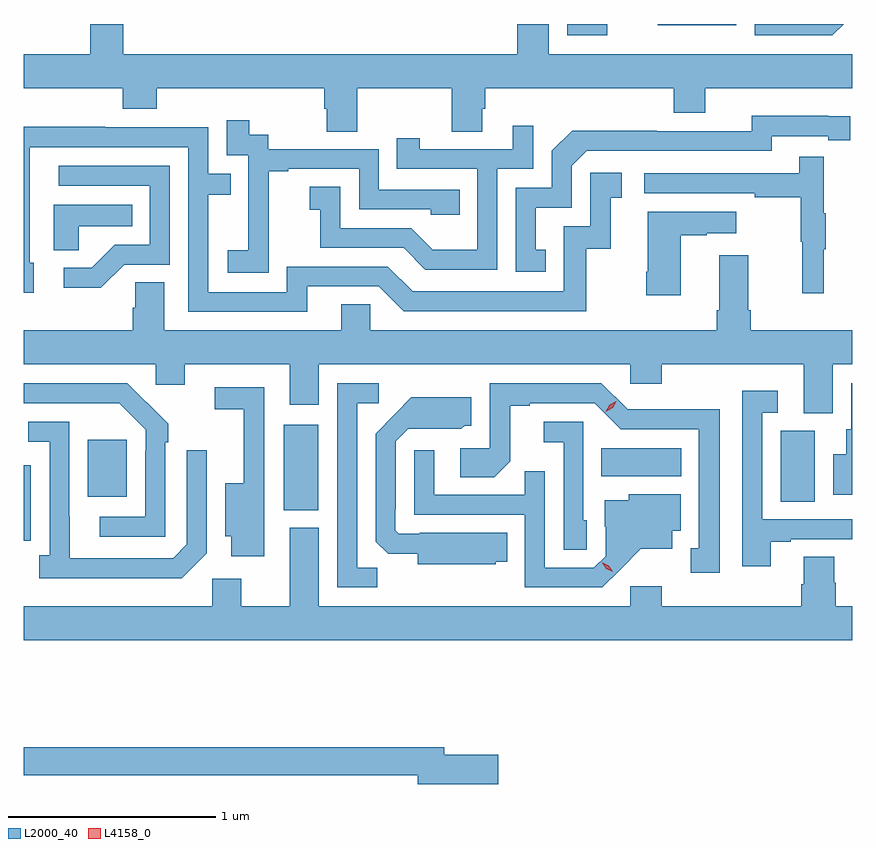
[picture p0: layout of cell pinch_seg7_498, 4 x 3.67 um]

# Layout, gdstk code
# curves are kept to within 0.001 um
import gdstk
lib = gdstk.Library(unit=1e-6, precision=1e-09)
def R(c, l, rs):  # rectangles x0, y0, x1, y1
    for r in rs: c.add(gdstk.rectangle(r[:2], r[2:], *l))
def P(c, l, *ps):  # polygons
    for p in ps: c.add(gdstk.Polygon(p, *l))
L2000_40 = (2000, 40)
L4158_0 = (4158, 0)

pinch_seg7_498 = lib.new_cell('pinch_seg7_498')
R(pinch_seg7_498, L2000_40, [(125.402,1071.839,125.569,1072.252), (127.802,1071.88,127.966,1072.224), (124.457,1071.905,124.645,1072.18), (126.934,1072.004,127.321,1072.138), (126.771,1074.132,126.963,1074.187), (127.208,1074.182,127.588,1074.187)])
P(pinch_seg7_498, L2000_40, [(125.757,1073.876),(126.214,1073.876),(126.214,1073.668),(126.361,1073.668),(126.361,1073.778),(126.374,1073.778),(126.374,1073.876),(127.286,1073.876),(127.286,1073.759),(127.438,1073.759),(127.438,1073.876),(128.147,1073.876),(128.147,1074.04),(126.682,1074.04),(126.682,1074.187),(126.53,1074.187),(126.53,1074.04),(124.628,1074.04),(124.628,1074.187),(124.468,1074.187),(124.468,1074.04),(124.147,1074.04),(124.147,1073.876),(124.625,1073.876),(124.625,1073.777),(124.79,1073.777),(124.79,1073.876),(125.597,1073.876),(125.597,1073.778),(125.609,1073.778),(125.609,1073.668),(125.757,1073.668)],
  [(128.106,1074.187),(127.677,1074.187),(127.677,1074.132),(128.05,1074.132)],
  [(126.668,1073.097),(126.619,1073.097),(126.619,1073.301),(126.792,1073.301),(126.792,1073.502),(126.864,1073.574),(127.758,1073.574),(127.758,1073.646),(128.03,1073.646),(128.03,1073.626),(128.138,1073.626),(128.138,1073.742),(127.662,1073.743),(127.662,1073.67),(127.202,1073.67),(127.202,1073.672),(126.794,1073.672),(126.696,1073.574),(126.696,1073.397),(126.522,1073.397),(126.522,1072.992),(126.668,1072.992)],
  [(125.331,1073.191),(125.33,1073.191),(125.33,1073.475),(125.425,1073.475),(125.425,1073.487),(125.766,1073.487),(125.766,1073.292),(126.111,1073.292),(126.111,1073.265),(126.251,1073.265),(126.251,1073.388),(125.862,1073.388),(125.862,1073.583),(125.328,1073.583),(125.328,1073.652),(125.236,1073.652),(125.236,1073.722),(125.127,1073.722),(125.127,1073.553),(125.232,1073.553),(125.232,1073.324),(125.231,1073.324),(125.231,1073.095),(125.133,1073.095),(125.133,1072.985),(125.331,1072.985)],
  [(126.432,1073.487),(126.606,1073.487),(126.606,1073.695),(126.509,1073.695),(126.509,1073.583),(126.058,1073.583),(126.058,1073.635),(125.947,1073.635),(125.947,1073.487),(126.336,1073.487),(126.336,1073.098),(126.122,1073.098),(126.018,1073.202),(125.676,1073.202),(125.676,1073.401),(125.529,1073.401),(125.529,1073.291),(125.578,1073.291),(125.578,1073.106),(125.981,1073.106),(126.086,1073.001),(126.432,1073.001)],
  [(125.515,1072.92),(125.862,1072.92),(125.982,1072.8),(126.862,1072.8),(126.862,1073.103),(126.98,1073.103),(126.98,1073.349),(127.033,1073.349),(127.033,1073.47),(126.882,1073.47),(126.882,1073.211),(126.753,1073.211),(126.753,1072.896),(126.024,1072.896),(125.904,1073.016),(125.418,1073.016),(125.418,1072.893),(125.037,1072.893),(125.037,1073.362),(125.147,1073.362),(125.147,1073.463),(125.037,1073.463),(125.037,1073.688),(124.541,1073.688),(124.541,1073.69),(124.147,1073.69),(124.147,1072.89),(124.195,1072.89),(124.195,1073.034),(124.176,1073.034),(124.176,1073.592),(124.941,1073.592),(124.941,1072.797),(125.515,1072.797)],
  [(128.009,1073.099),(128.02,1073.099),(128.02,1073.273),(128.009,1073.273),(128.009,1073.545),(127.891,1073.545),(127.891,1073.466),(127.143,1073.466),(127.143,1073.37),(127.675,1073.37),(127.675,1073.35),(127.899,1073.35),(127.899,1073.136),(127.906,1073.136),(127.906,1072.887),(128.009,1072.887)],
  [(124.632,1073.025),(124.851,1073.025),(124.851,1073.502),(124.317,1073.502),(124.317,1073.406),(124.755,1073.406),(124.755,1073.121),(124.586,1073.121),(124.475,1073.01),(124.341,1073.01),(124.341,1072.913),(124.519,1072.913)],
  [(124.413,1073.21),(124.67,1073.21),(124.67,1073.314),(124.292,1073.314),(124.292,1073.095),(124.413,1073.095)],
  [(127.318,1073.167),(127.445,1073.167),(127.445,1073.177),(127.588,1073.177),(127.588,1073.281),(127.16,1073.281),(127.16,1072.99),(127.153,1072.99),(127.153,1072.878),(127.318,1072.878)],
  [(128.053,1072.544),(128.147,1072.544),(128.147,1072.708),(127.658,1072.708),(127.658,1072.804),(127.645,1072.804),(127.645,1073.071),(127.505,1073.071),(127.505,1072.804),(127.493,1072.804),(127.493,1072.708),(125.82,1072.708),(125.82,1072.835),(125.681,1072.835),(125.681,1072.708),(124.825,1072.708),(124.825,1072.94),(124.686,1072.94),(124.686,1072.817),(124.673,1072.817),(124.673,1072.708),(124.147,1072.708),(124.147,1072.544),(124.785,1072.544),(124.785,1072.446),(124.924,1072.446),(124.924,1072.544),(125.432,1072.544),(125.432,1072.35),(125.572,1072.35),(125.572,1072.544),(127.074,1072.544),(127.074,1072.451),(127.226,1072.451),(127.226,1072.544),(127.913,1072.544),(127.913,1072.309),(128.053,1072.309)],
  [(128.147,1072.452),(128.142,1072.452),(128.142,1072.23),(128.117,1072.23),(128.117,1072.111),(128.054,1072.111),(128.054,1071.915),(128.147,1071.915)],
  [(127.507,1072.328),(127.284,1072.328),(127.284,1072.326),(127.062,1072.326),(126.936,1072.452),(126.396,1072.452),(126.396,1072.14),(126.255,1072.14),(126.255,1072),(126.419,1072),(126.495,1072.076),(126.495,1072.344),(126.589,1072.344),(126.589,1072.356),(126.903,1072.356),(127.029,1072.23),(127.406,1072.23),(127.406,1071.657),(127.367,1071.657),(127.367,1071.537),(127.507,1071.537)],
  [(125.853,1071.563),(125.757,1071.563),(125.757,1072.356),(125.86,1072.356),(125.86,1072.452),(125.661,1072.452),(125.661,1071.468),(125.853,1071.468)],
  [(124.83,1072.169),(124.845,1072.169),(124.845,1072.257),(124.648,1072.452),(124.147,1072.452),(124.147,1072.356),(124.609,1072.356),(124.737,1072.227),(124.737,1072.127),(124.734,1072.127),(124.734,1071.807),(124.515,1071.807),(124.515,1071.711),(124.83,1071.711)],
  [(125.308,1071.849),(125.307,1071.849),(125.307,1072.434),(125.07,1072.434),(125.07,1072.326),(125.21,1072.326),(125.21,1071.97),(125.12,1071.97),(125.12,1071.713),(125.15,1071.713),(125.15,1071.618),(125.308,1071.618)],
  [(127.753,1071.687),(127.849,1071.687),(127.849,1071.699),(128.147,1071.699),(128.147,1071.795),(127.713,1071.795),(127.713,1072.311),(127.786,1072.311),(127.786,1072.417),(127.617,1072.417),(127.617,1071.57),(127.753,1071.57)],
  [(126.426,1071.59),(126.482,1071.59),(126.482,1071.73),(126.058,1071.73),(126.058,1071.726),(125.958,1071.726),(125.94,1071.744),(125.94,1071.844),(125.943,1071.844),(125.943,1072.173),(126.003,1072.233),(126.26,1072.232),(126.276,1072.248),(126.307,1072.248),(126.307,1072.384),(126.019,1072.384),(125.847,1072.21),(125.847,1071.688),(125.906,1071.629),(126.05,1071.629),(126.05,1071.578),(126.426,1071.578)],
  [(125.031,1071.633),(125.031,1072.129),(124.935,1072.129),(124.935,1071.675),(124.869,1071.609),(124.369,1071.609),(124.368,1072.266),(124.17,1072.266),(124.17,1072.17),(124.272,1072.17),(124.272,1071.622),(124.221,1071.622),(124.221,1071.512),(124.91,1071.512)],
  [(126.864,1071.792),(126.849,1071.792),(126.849,1072.266),(126.657,1072.266),(126.657,1072.169),(126.753,1072.169),(126.753,1071.649),(126.864,1071.649)],
  [(127.024,1071.551),(127.127,1071.653),(127.279,1071.653),(127.279,1071.74),(127.318,1071.74),(127.318,1071.916),(127.068,1071.916),(127.068,1071.889),(126.953,1071.889),(126.953,1071.76),(126.957,1071.76),(126.957,1071.618),(126.9,1071.561),(126.663,1071.561),(126.663,1072.028),(126.565,1072.028),(126.565,1071.915),(126.129,1071.915),(126.129,1072.129),(126.033,1072.129),(126.033,1071.819),(126.567,1071.819),(126.567,1071.468),(126.94,1071.468)],
  [(124.181,1071.802),(124.182,1071.802),(124.182,1072.057),(124.147,1072.057),(124.147,1071.693),(124.181,1071.693)],
  [(128.147,1071.376),(128.066,1071.376),(128.066,1071.489),(128.061,1071.489),(128.061,1071.614),(127.913,1071.614),(127.913,1071.482),(127.901,1071.482),(127.901,1071.376),(127.226,1071.376),(127.226,1071.472),(127.074,1071.472),(127.074,1071.376),(125.572,1071.376),(125.572,1071.754),(125.432,1071.754),(125.432,1071.376),(125.197,1071.376),(125.197,1071.508),(125.058,1071.508),(125.058,1071.376),(124.147,1071.376),(124.147,1071.212),(128.147,1071.212)],
  [(126.439,1070.66),(126.178,1070.66),(126.178,1070.696),(124.147,1070.696),(124.147,1070.56),(126.05,1070.56),(126.05,1070.518),(126.439,1070.518)])
P(pinch_seg7_498, L4158_0, [(126.958,1072.315),(126.958,1072.315),(126.975,1072.348),(127.007,1072.366),(127.007,1072.366),(127.007,1072.366),(126.99,1072.334),(126.958,1072.315)],
  [(126.99,1071.542),(126.959,1071.556),(126.941,1071.586),(126.941,1071.586),(126.942,1071.586),(126.972,1071.571),(126.99,1071.542),(126.99,1071.542)])

lib.write_gds('pinch_seg7_498.gds')
